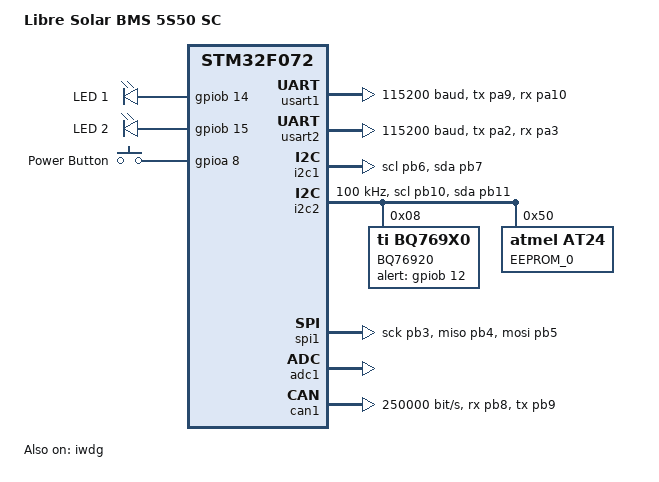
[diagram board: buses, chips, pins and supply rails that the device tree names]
/*
 * Copyright (c) The Libre Solar Project Contributors
 *
 * SPDX-License-Identifier: Apache-2.0
 */

/dts-v1/;
#include <st/f0/stm32f072Xb.dtsi>
#include <st/f0/stm32f072c(8-b)tx-pinctrl.dtsi>

/ {
	model = "Libre Solar BMS 5S50 SC";
	compatible = "st,stm32f072";

	pcb {
		compatible = "bms";

		type = "BMS 5S50 SC";
		version-str = "v0.1";
		version-num = <1>;

		num-cells-max = <5>;
		num-thermistors-max = <1>;

		current-max = <50>;
		shunt-res = <1000>;

		/*
		 * Additional information:
		 * - GAIN_PACK_VOLTAGE (110/10)
		 * - PIN_V_REF    PA_0
		 * - PIN_V_BAT    PA_4
		 * - PIN_V_EXT    PA_5
		 * - PIN_TEMP_1   PA_6
		 * - PIN_TEMP_2   PA_7
		 */
	};

	chosen {
		zephyr,console = &usart1;
		zephyr,shell-uart = &usart1;
		zephyr,sram = &sram0;
		zephyr,flash = &flash0;
	};

	leds {
		compatible = "gpio-leds";
		led1: led_0 {
			gpios = <&gpiob 14 GPIO_ACTIVE_HIGH>;
			label = "LED 1";
		};
		led2: led_1 {
			gpios = <&gpiob 15 GPIO_ACTIVE_HIGH>;
			label = "LED 2";
		};
	};

	gpio_keys {
		compatible = "gpio-keys";
		power_button: button {
			label = "Power Button";
			gpios = <&gpioa 8 GPIO_ACTIVE_HIGH>;
		};
	};

	switches {
		compatible = "switch";
		can_en {
			gpios = <&gpioa 15 GPIO_ACTIVE_LOW>;
			label = "CAN transceiver enable";
		};
		pchg_en {
			gpios = <&gpiob 2 GPIO_ACTIVE_HIGH>;
			label = "PCHG enable pin";
		};
	};

	aliases {
		led-red = &led1;
		led-green = &led2;
		uart-dbg = &usart1;
		uart-uext = &usart2;
		i2c-uext = &i2c1;
		sw-pwr = &power_button;
	};
};

&usart1 {
	pinctrl-0 = <&usart1_tx_pa9 &usart1_rx_pa10>;
	current-speed = <115200>;
	status = "okay";
};

&usart2 {
	pinctrl-0 = <&usart2_tx_pa2 &usart2_rx_pa3>;
	current-speed = <115200>;
	status = "okay";
};

&i2c1 {
	pinctrl-0 = <&i2c1_scl_pb6 &i2c1_sda_pb7>;
	status = "okay";
};

&i2c2 {
	pinctrl-0 = <&i2c2_scl_pb10 &i2c2_sda_pb11>;
	clock-frequency = <I2C_BITRATE_STANDARD>;
	status = "okay";

	bq769x0@8 {
		compatible = "ti,bq769x0";
		label = "BQ76920";
		reg = <0x08>;	// ignored (firmware will auto-detect I2C address)
		alert-gpios = <&gpiob 12 GPIO_ACTIVE_HIGH>;
	};

	eeprom@50 {
		// Microchip 24AA01
		compatible = "atmel,at24";
		reg = <0x50>;
		label = "EEPROM_0";
		size = <1024>;
		pagesize = <8>;
		address-width = <8>;
		/*
		 * timeout of 5 ms as suggested in datasheet seems too optimistic
		 * (several write errors occured during testing)
		 */
		timeout = <7>;
	};
};

&spi1 {
	pinctrl-0 = <&spi1_sck_pb3 &spi1_miso_pb4 &spi1_mosi_pb5>;
	cs-gpios = <&gpioa 1 GPIO_ACTIVE_LOW>;
	status = "okay";
};

&iwdg {
	status = "okay";
};

&adc1 {
	status = "okay";
};

&can1 {
	pinctrl-0 = <&can_rx_pb8 &can_tx_pb9>;
	bus-speed = <250000>;
	status = "okay";
};
